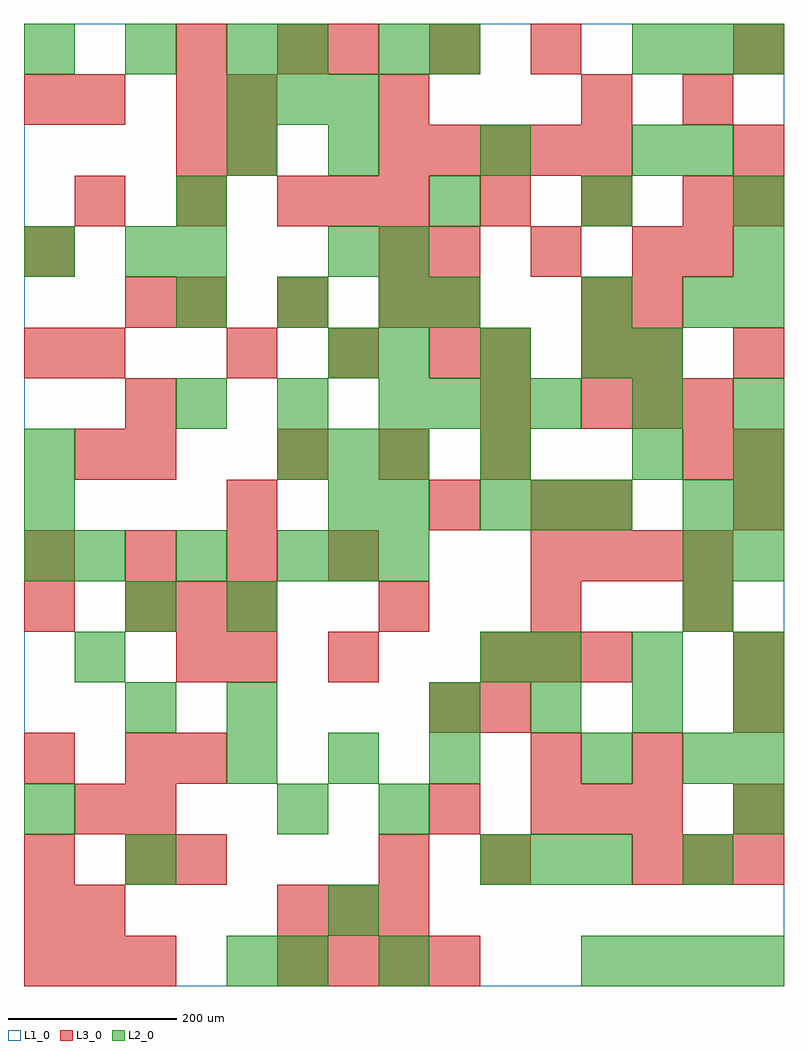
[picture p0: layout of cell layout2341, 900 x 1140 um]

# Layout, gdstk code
import gdstk
lib = gdstk.Library(unit=1e-6, precision=1e-09)
def R(c, l, rs):  # rectangles x0, y0, x1, y1
    for r in rs: c.add(gdstk.rectangle(r[:2], r[2:], *l))
def A(c, l, x, y, w, h, nx, ny, dx, dy):  # array of equal rectangles
    R(c, l, [(x+i*dx, y+j*dy, x+i*dx+w, y+j*dy+h) for i in range(nx) for j in range(ny)])
L1_0 = (1, 0)
L2_0 = (2, 0)
L3_0 = (3, 0)

layout2341 = lib.new_cell('layout2341')
R(layout2341, L1_0, [(0,0,900,1140)])
A(layout2341, L2_0, 660, 0, 60, 60, 4, 1, 60, 0)
A(layout2341, L2_0, 540, 120, 60, 60, 3, 2, 60, 420)
A(layout2341, L2_0, 240, 240, 60, 60, 3, 1, 120, 0)
A(layout2341, L2_0, 480, 300, 60, 60, 4, 1, 120, 0)
A(layout2341, L2_0, 600, 360, 60, 60, 3, 1, 120, 0)
A(layout2341, L2_0, 780, 420, 60, 60, 1, 3, 0, 60)
A(layout2341, L2_0, 0, 480, 60, 60, 1, 3, 0, 60)
A(layout2341, L2_0, 60, 480, 60, 60, 3, 1, 120, 0)
A(layout2341, L2_0, 840, 480, 60, 60, 1, 4, 0, 60)
A(layout2341, L2_0, 300, 600, 60, 60, 3, 1, 60, 0)
A(layout2341, L2_0, 720, 600, 60, 60, 1, 3, 0, 60)
A(layout2341, L2_0, 180, 660, 60, 60, 3, 2, 120, 120)
A(layout2341, L2_0, 480, 660, 60, 60, 3, 1, 60, 0)
A(layout2341, L2_0, 420, 720, 60, 60, 3, 1, 120, 0)
A(layout2341, L2_0, 480, 900, 60, 60, 3, 1, 180, 0)
A(layout2341, L2_0, 360, 960, 60, 60, 3, 1, 180, 0)
A(layout2341, L2_0, 240, 1020, 60, 60, 3, 1, 60, 0)
A(layout2341, L2_0, 0, 1080, 60, 60, 3, 1, 120, 0)
A(layout2341, L2_0, 720, 1080, 60, 60, 3, 1, 60, 0)
R(layout2341, L2_0, [(240,0,300,60), (300,0,360,60), (420,0,480,60), (360,60,420,120), (120,120,180,180), (780,120,840,180), (0,180,60,240), (300,180,360,240), (420,180,480,240), (840,180,900,240), (660,240,720,300), (780,240,840,300), (840,240,900,300), (120,300,180,360), (240,300,300,360), (60,360,120,420), (540,360,600,420), (120,420,180,480), (240,420,300,480), (360,480,420,540), (420,480,480,540), (360,540,420,600), (420,540,480,600), (540,600,600,660), (360,720,420,780), (480,780,540,840), (660,780,720,840), (780,780,840,840), (840,780,900,840), (0,840,60,900), (120,840,180,900), (180,840,240,900), (360,840,420,900), (420,840,480,900), (840,840,900,900), (180,900,240,960), (240,960,300,1020), (780,960,840,1020), (300,1080,360,1140), (420,1080,480,1140), (480,1080,540,1140)])
A(layout2341, L3_0, 0, 0, 60, 60, 3, 1, 60, 0)
A(layout2341, L3_0, 300, 0, 60, 60, 4, 1, 60, 0)
A(layout2341, L3_0, 300, 60, 60, 60, 3, 1, 60, 0)
A(layout2341, L3_0, 120, 120, 60, 60, 1, 3, 0, 60)
A(layout2341, L3_0, 180, 120, 60, 60, 1, 3, 0, 120)
A(layout2341, L3_0, 720, 120, 60, 60, 3, 1, 60, 0)
A(layout2341, L3_0, 600, 180, 60, 60, 3, 1, 60, 0)
A(layout2341, L3_0, 480, 300, 60, 60, 1, 3, 0, 240)
A(layout2341, L3_0, 540, 360, 60, 60, 3, 1, 60, 0)
A(layout2341, L3_0, 120, 420, 60, 60, 3, 1, 60, 0)
A(layout2341, L3_0, 420, 420, 60, 60, 3, 1, 180, 0)
A(layout2341, L3_0, 0, 480, 60, 60, 4, 1, 120, 0)
A(layout2341, L3_0, 600, 480, 60, 60, 4, 1, 60, 0)
A(layout2341, L3_0, 300, 600, 60, 60, 3, 1, 120, 0)
A(layout2341, L3_0, 660, 660, 60, 60, 3, 1, 60, 0)
A(layout2341, L3_0, 240, 720, 60, 60, 3, 1, 120, 0)
A(layout2341, L3_0, 180, 780, 60, 60, 3, 1, 120, 0)
A(layout2341, L3_0, 480, 840, 60, 60, 3, 1, 120, 0)
A(layout2341, L3_0, 60, 900, 60, 60, 3, 1, 120, 0)
A(layout2341, L3_0, 420, 900, 60, 60, 4, 1, 120, 0)
A(layout2341, L3_0, 180, 960, 60, 60, 1, 3, 0, 60)
A(layout2341, L3_0, 420, 960, 60, 60, 5, 1, 60, 0)
A(layout2341, L3_0, 360, 1080, 60, 60, 3, 1, 120, 0)
R(layout2341, L3_0, [(0,60,60,120), (60,60,120,120), (0,120,60,180), (420,120,480,180), (540,120,600,180), (60,180,120,240), (480,180,540,240), (840,180,900,240), (0,240,60,300), (600,240,660,300), (720,240,780,300), (540,300,600,360), (840,300,900,360), (240,360,300,420), (360,360,420,420), (840,360,900,420), (0,420,60,480), (240,540,300,600), (600,540,660,600), (660,540,720,600), (840,540,900,600), (60,600,120,660), (120,600,180,660), (780,600,840,660), (840,600,900,660), (120,660,180,720), (540,660,600,720), (0,720,60,780), (60,720,120,780), (540,720,600,780), (660,720,720,780), (720,720,780,780), (840,720,900,780), (120,780,180,840), (660,780,720,840), (720,780,780,840), (0,840,60,900), (420,840,480,900), (780,840,840,900), (360,900,420,960), (840,900,900,960), (240,960,300,1020), (840,960,900,1020), (0,1020,60,1080), (60,1020,120,1080), (240,1020,300,1080), (420,1020,480,1080), (660,1020,720,1080), (780,1020,840,1080), (300,1080,360,1140), (840,1080,900,1140)])

lib.write_gds('layout2341.gds')
